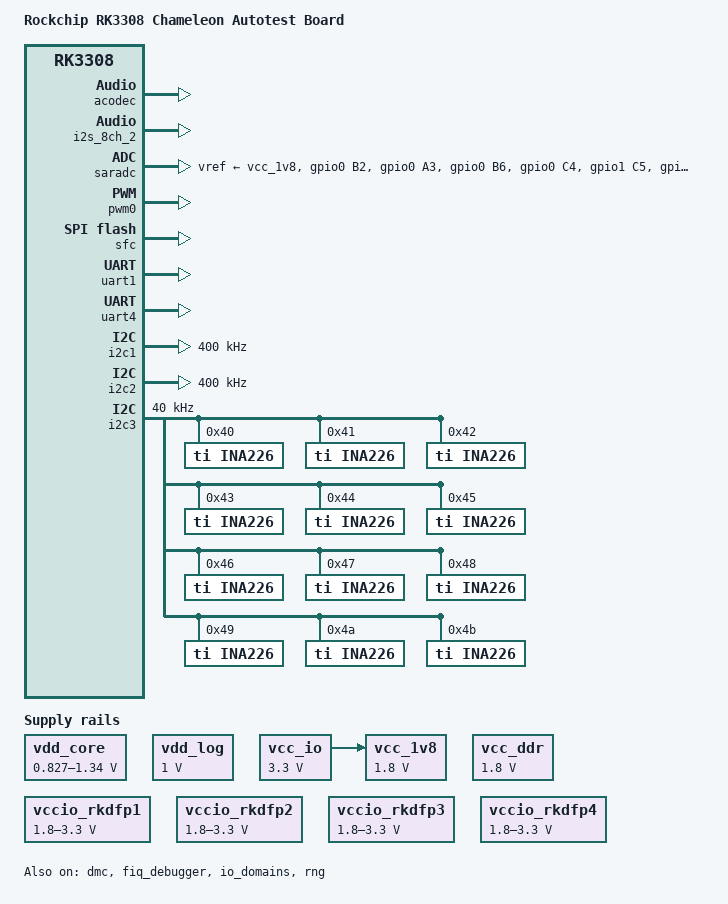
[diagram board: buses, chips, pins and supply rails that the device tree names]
/*
 * Copyright (c) 2018 Fuzhou Rockchip Electronics Co., Ltd
 *
 * SPDX-License-Identifier: (GPL-2.0+ OR MIT)
 */

/dts-v1/;

#include <dt-bindings/input/input.h>
#include "arm64/rockchip/rk3308.dtsi"

/ {
	model = "Rockchip RK3308 Chameleon Autotest Board";
	compatible = "rockchip,rk3308-chameleon", "rockchip,rk3308";

	chosen {
		bootargs = "earlycon=uart8250,mmio32,0xff0a0000 swiotlb=1 console=ttyFIQ0 root=PARTUUID=614e0000-0000 rootfstype=squashfs rootwait snd_aloop.index=7 snd_aloop.use_raw_jiffies=1";
	};

	acodec_sound: acodec-sound {
		compatible = "rockchip,multicodecs-card";
		rockchip,card-name = "rockchip,rk3308-acodec";
		rockchip,codec-hp-det;
		rockchip,mclk-fs = <256>;
		rockchip,cpu = <&i2s_8ch_2>;
		rockchip,codec = <&acodec>;
		status = "okay";
	};

	vdd_core: vdd-core {
		compatible = "pwm-regulator";
		pwms = <&pwm0 0 5000 1>;
		regulator-name = "vdd_core";
		regulator-min-microvolt = <827000>;
		regulator-max-microvolt = <1340000>;
		regulator-init-microvolt = <1015000>;
		regulator-always-on;
		regulator-boot-on;
		regulator-settling-time-up-us = <250>;
		status = "okay";
	};

	vdd_log: vdd_1v0: vdd-1v0 {
		compatible = "regulator-fixed";
		regulator-name = "vdd_1v0";
		regulator-always-on;
		regulator-boot-on;
		regulator-min-microvolt = <1000000>;
		regulator-max-microvolt = <1000000>;
	};

	vcc_io: vcc-io {
		compatible = "regulator-fixed";
		regulator-name = "vcc_io";
		regulator-always-on;
		regulator-boot-on;
		regulator-min-microvolt = <3300000>;
		regulator-max-microvolt = <3300000>;
	};

	vcc_1v8: vcc-1v8 {
		compatible = "regulator-fixed";
		regulator-name = "vcc_1v8";
		regulator-always-on;
		regulator-boot-on;
		regulator-min-microvolt = <1800000>;
		regulator-max-microvolt = <1800000>;
		vin-supply = <&vcc_io>;
	};

	vcc_ddr: vcc-ddr {
	compatible = "regulator-fixed";
		regulator-name = "vcc_ddr";
		regulator-always-on;
		regulator-boot-on;
		regulator-min-microvolt = <1800000>;
		regulator-max-microvolt = <1800000>;
	};

	vccio_rkdfp1: vccio-rkdfp1 {
		compatible = "regulator-fixed";
		regulator-name = "vccio_rkdfp1";
		regulator-always-on;
		regulator-boot-on;
		regulator-min-microvolt = <1800000>;
		regulator-max-microvolt = <3300000>;
	};

	vccio_rkdfp2: vccio-rkdfp2 {
		compatible = "regulator-fixed";
		regulator-name = "vccio_rkdfp2";
		regulator-always-on;
		regulator-boot-on;
		regulator-min-microvolt = <1800000>;
		regulator-max-microvolt = <3300000>;
	};

	vccio_rkdfp3: vccio-rkdfp3 {
		compatible = "regulator-fixed";
		regulator-name = "vccio_rkdfp3";
		regulator-always-on;
		regulator-boot-on;
		regulator-min-microvolt = <1800000>;
		regulator-max-microvolt = <3300000>;
	};

	vccio_rkdfp4: vccio-rkdfp4 {
		compatible = "regulator-fixed";
		regulator-name = "vccio_rkdfp4";
		regulator-always-on;
		regulator-boot-on;
		regulator-min-microvolt = <1800000>;
		regulator-max-microvolt = <3300000>;
	};
};

&acodec {
	status = "okay";

	rockchip,no-hp-det;
	rockchip,delay-start-play-ms = <200>;
	rockchip,loopback-grp = <1>;
	spk-ctl-gpios = <&gpio1 RK_PA0 GPIO_ACTIVE_HIGH>;
	rockchip,adc-grps-route = <2 3 0 1>;
};

&i2s_8ch_2 {
	status = "okay";
};

&cpu0 {
	cpu-supply = <&vdd_core>;
};

&dmc {
	center-supply = <&vdd_log>;
	status = "okay";
};

&fiq_debugger {
	rockchip,serial-id = <0>;
	status = "okay";
};

&io_domains {
	status = "okay";

	vccio0-supply = <&vcc_io>;
	vccio1-supply = <&vccio_rkdfp1>;
	vccio2-supply = <&vccio_rkdfp2>;
	vccio3-supply = <&vcc_io>;
	vccio4-supply = <&vccio_rkdfp4>;
	vccio5-supply = <&vccio_rkdfp3>;
};

&ramoops_mem {
	reg = <0x0 0x30000 0x0 0x20000>;
};

&ramoops {
	record-size = <0x0 0x00000>;
	console-size = <0x0 0x20000>;
};

&rng {
	status = "okay";
};

&saradc {
	status = "okay";
	vref-supply = <&vcc_1v8>;
	/*
	 * config the connect_det and vccio_det GPIO pull none, power_on GPIO
	 * pull up.
	 *
	 * Because there is no module use those GPIOS, I put pinctrl here just
	 * for convenience.
	 */
	pinctrl-names = "default";
	pinctrl-0 = <&connect_det_pull_none
		     &power_on_pull_up
		     &vccio_det_pull_none>;
};

&pwm0 {
	status = "okay";
	pinctrl-names = "active";
	pinctrl-0 = <&pwm0_pin_pull_down>;
};

&sfc {
	u-boot,dm-pre-reloc;
	status = "okay";
};

&uart1 {
	pinctrl-names = "default";
	pinctrl-0 = <&uart1_xfer>;
	status = "okay";
};

&uart4 {
	status = "okay";
};

&i2c0 {
	clock-frequency = <400000>;
	status = "disabled";
};

&i2c1 {
	clock-frequency = <400000>;
	status = "okay";
};

&i2c2 {
	clock-frequency = <400000>;
	status = "okay";
};

&i2c3 {
	clock-frequency = <40000>;
	status = "okay";

	ina226@40 {
		compatible = "ti,ina226";
		reg = <0x40>;
		shunt-resistor = <20000>;
	};
	ina226@41 {
		compatible = "ti,ina226";
		reg = <0x41>;
		shunt-resistor = <20000>;
	};
	ina226@42 {
		compatible = "ti,ina226";
		reg = <0x42>;
		shunt-resistor = <20000>;
	};
	ina226@43 {
		compatible = "ti,ina226";
		reg = <0x43>;
		shunt-resistor = <20000>;
	};
	ina226@44 {
		compatible = "ti,ina226";
		reg = <0x44>;
		shunt-resistor = <20000>;
	};
	ina226@45 {
		compatible = "ti,ina226";
		reg = <0x45>;
		shunt-resistor = <20000>;
	};
	ina226@46 {
		compatible = "ti,ina226";
		reg = <0x46>;
		shunt-resistor = <20000>;
	};
	ina226@47 {
		compatible = "ti,ina226";
		reg = <0x47>;
		shunt-resistor = <20000>;
	};
	ina226@48 {
		compatible = "ti,ina226";
		reg = <0x48>;
		shunt-resistor = <20000>;
	};
	ina226@49 {
		compatible = "ti,ina226";
		reg = <0x49>;
		shunt-resistor = <20000>;
	};
	ina226@4a {
		compatible = "ti,ina226";
		reg = <0x4a>;
		shunt-resistor = <20000>;
	};
	ina226@4b {
		compatible = "ti,ina226";
		reg = <0x4b>;
		shunt-resistor = <20000>;
	};
};

&pinctrl {
	dut {
		connect_det_pull_up: connect_det_pull_up {
			rockchip,pins =
				<0 RK_PB2 0 &pcfg_pull_up>,
				<0 RK_PA3 0 &pcfg_pull_up>,
				<0 RK_PB6 0 &pcfg_pull_up>,
				<0 RK_PC4 0 &pcfg_pull_up>;
			};
		connect_det_pull_none: connect_det_pull_none {
			rockchip,pins =
				<0 RK_PB2 0 &pcfg_pull_none>,
				<0 RK_PA3 0 &pcfg_pull_none>,
				<0 RK_PB6 0 &pcfg_pull_none>,
				<0 RK_PC4 0 &pcfg_pull_none>;
			};
		vccio_det_pull_none: vccio_det_pull_none {
			rockchip,pins =
				<0 RK_PA0 0 &pcfg_pull_none>,
				<0 RK_PA1 0 &pcfg_pull_none>,
				<0 RK_PA2 0 &pcfg_pull_none>,
				<0 RK_PA5 0 &pcfg_pull_none>;
			};
		power_on_pull_up: power_on_pull_up {
			rockchip,pins =
				<1 RK_PC5 0 &pcfg_pull_up>,
				<2 RK_PC0 0 &pcfg_pull_up>,
				<4 RK_PD4 0 &pcfg_pull_up>,
				<4 RK_PA4 0 &pcfg_pull_up>;
			};
	};
};
